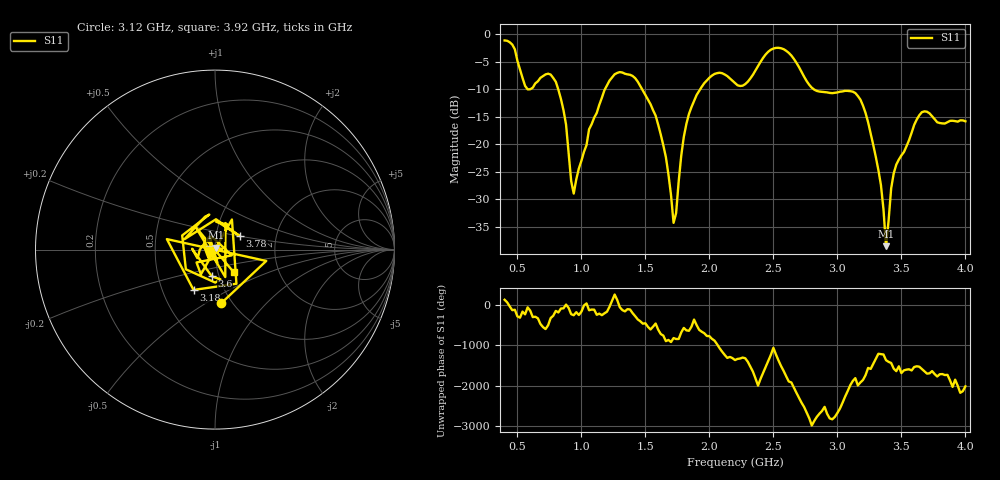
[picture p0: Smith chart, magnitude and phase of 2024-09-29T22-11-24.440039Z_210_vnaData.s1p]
!Created with skrf (http://scikit-rf.org).
# Hz S RI R 50.0
!freq ReS11 ImS11
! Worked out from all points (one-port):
!   181 points, 400 MHz to 4 GHz, reference 50 ohm
!   lowest |S11| = -38.5 dB at 3.38 GHz (marker M1), VSWR 1.02, Z = 50.4 + j1.13 ohm
!   |S11| at or under -10 dB: 819 MHz to 1.184 GHz (364.7 MHz wide, 36.4 % of centre); 1.475 GHz to 1.928 GHz (453.3 MHz wide, 26.6 % of centre); 2.816 GHz to end of sweep (the widest 3 of 4)
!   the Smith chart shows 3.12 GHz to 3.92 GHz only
!   S11 on the Smith chart (normalised r, x): 3.12 GHz: 0.89, -0.59; 3.18 GHz: 0.72, -0.34; 3.6 GHz: 0.92, -0.28; 3.78 GHz: 1.31, +0.20; 3.92 GHz: 1.19, -0.31
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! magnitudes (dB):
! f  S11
! 400 MHz  -1.1
! 580 MHz  -10.0
! 760 MHz  -7.3
! 860 MHz  -13.8
! 940 MHz  -28.9
! 1.06 GHz  -17.3
! 1.3 GHz  -6.9
! 1.58 GHz  -14.8
! 1.66 GHz  -22.3
! 1.72 GHz  -34.3
! 1.76 GHz  -26.7
! 1.82 GHz  -16.3
! 1.9 GHz  -11.0
! 2.2 GHz  -8.9
! 2.5 GHz  -2.6
! 2.66 GHz  -4.5
! 2.82 GHz  -10.1
! 3.1 GHz  -10.3
! 3.12 GHz  -10.4
! 3.18 GHz  -11.9
! 3.32 GHz  -24.6
! 3.38 GHz  -38.5
! 3.44 GHz  -25.3
! 3.56 GHz  -19.2
! 3.6 GHz  -16.5
! 3.78 GHz  -16.0
! 3.92 GHz  -15.8
! 4 GHz  -15.8
